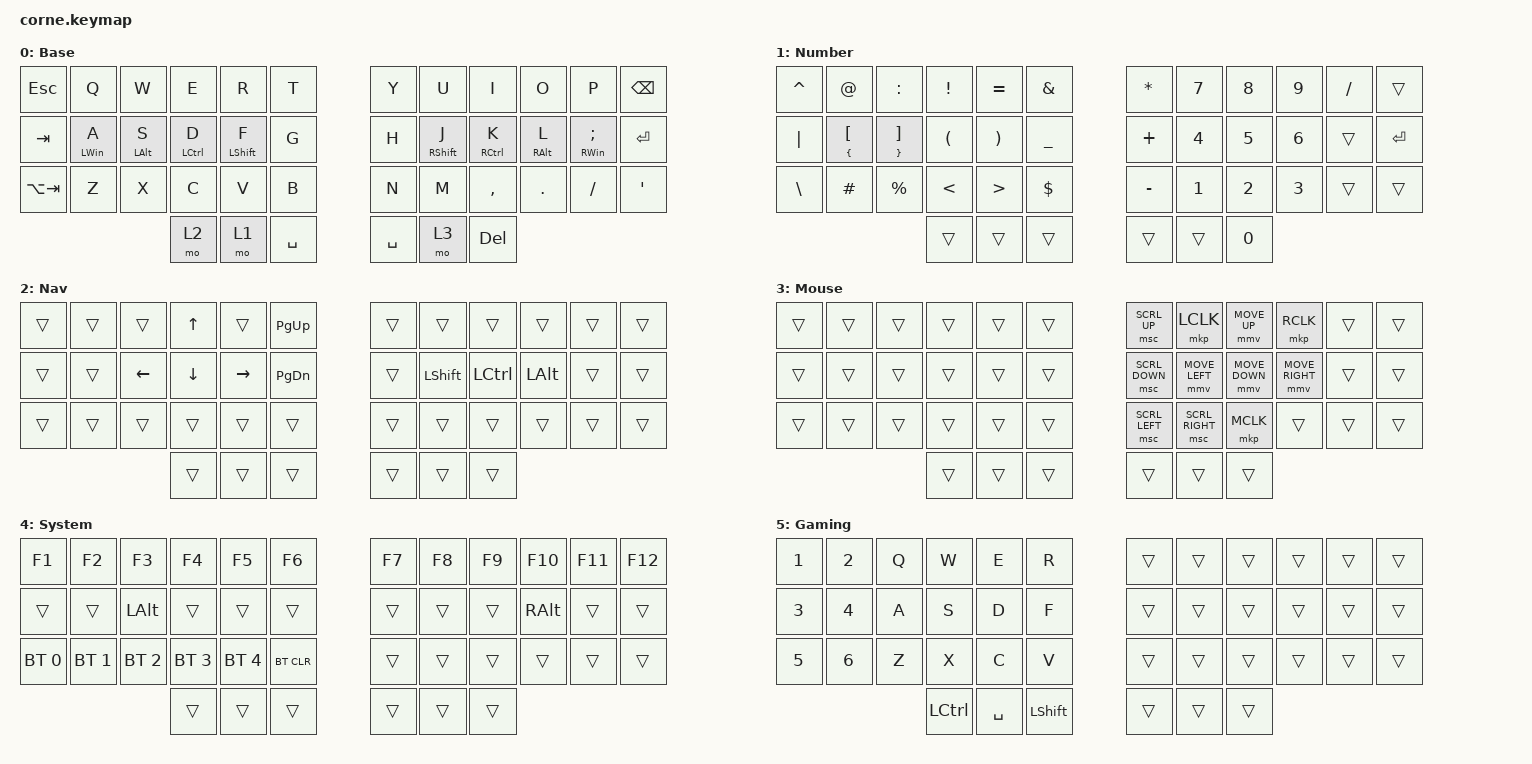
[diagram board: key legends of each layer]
/*
 * Copyright (c) 2020 The ZMK Contributors
 *
 * SPDX-License-Identifier: MIT
 */

#include <behaviors.dtsi>
#include <dt-bindings/zmk/bt.h>
#include <dt-bindings/zmk/keys.h>
#include <dt-bindings/zmk/pointing.h>

/ {
    combos {
        compatible = "zmk,combos";

        toggle_gaming {
            bindings = <&tog 5>;
            key-positions = <36 37 40 41>;
        };
    };

    behaviors {
        HMR: HMR {
            compatible = "zmk,behavior-hold-tap";
            label = "HMR";
            bindings = <&kp>, <&kp>;

            #binding-cells = <2>;
            tapping-term-ms = <280>;
            quick-tap-ms = <175>;
            flavor = "tap-preferred";
            hold-trigger-key-positions = <0 1 2 3 4 5 12 13 14 15 16 17 24 25 26 27 28 29 36 37 38 39 40 41>;
            hold-trigger-on-release;
        };

        HML: HML {
            compatible = "zmk,behavior-hold-tap";
            label = "HML";
            bindings = <&kp>, <&kp>;

            #binding-cells = <2>;
            tapping-term-ms = <280>;
            quick-tap-ms = <175>;
            flavor = "tap-preferred";
            hold-trigger-key-positions = <6 7 8 9 10 11 18 19 20 21 22 23 30 31 32 33 34 35 39 40 41 36 37 38>;
            hold-trigger-on-release;
        };
    };

    keymap {
        compatible = "zmk,keymap";

        default_layer {
            // -----------------------------------------------------------------------------------------
            // |  TAB |  Q  |  W  |  E  |  R  |  T  |   |  Y  |  U   |  I  |  O  |  P  | BKSP |
            // | CTRL |  A  |  S  |  D  |  F  |  G  |   |  H  |  J   |  K  |  L  |  ;  |  '   |
            // | SHFT |  Z  |  X  |  C  |  V  |  B  |   |  N  |  M   |  ,  |  .  |  /  | ESC  |
            //                    | GUI | LWR | SPC |   | ENT | RSE  | ALT |

            display-name = "Base";
            bindings = <
&kp ESC      &kp Q            &kp W            &kp E                &kp R              &kp T        &kp Y      &kp U               &kp I                 &kp O             &kp P                &kp BSPC
&kp TAB      &HML LEFT_WIN A  &HML LEFT_ALT S  &HML LEFT_CONTROL D  &HML LEFT_SHIFT F  &kp G        &kp H      &HMR RIGHT_SHIFT J  &HMR RIGHT_CONTROL K  &HMR RIGHT_ALT L  &HMR RIGHT_WIN SEMI  &kp ENTER
&kp LA(TAB)  &kp Z            &kp X            &kp C                &kp V              &kp B        &kp N      &kp M               &kp COMMA             &kp DOT           &kp FSLH             &kp SINGLE_QUOTE
                                               &mo 2                &mo 1              &kp SPACE    &kp SPACE  &mo 3               &kp DELETE
            >;
        };

        number_layer {
            bindings = <
&kp CARET      &kp AT_SIGN                  &kp COLON                      &kp EXCLAMATION       &kp EQUAL              &kp AMPERSAND     &kp ASTERISK  &kp N7  &kp N8  &kp N9  &kp SLASH  &trans
&kp PIPE       &mt LEFT_BRACE LEFT_BRACKET  &mt RIGHT_BRACE RIGHT_BRACKET  &kp LEFT_PARENTHESIS  &kp RIGHT_PARENTHESIS  &kp UNDERSCORE    &kp PLUS      &kp N4  &kp N5  &kp N6  &trans     &kp ENTER
&kp BACKSLASH  &kp POUND                    &kp PERCENT                    &kp LESS_THAN         &kp GREATER_THAN       &kp DOLLAR        &kp MINUS     &kp N1  &kp N2  &kp N3  &trans     &trans
                                                                           &trans                &trans                 &trans            &trans        &trans  &kp N0
            >;

            label = "Number";
        };

        navegation_layer {
            bindings = <
&trans  &trans  &trans    &kp UP_ARROW  &trans     &kp PAGE_UP      &trans  &trans      &trans            &trans        &trans  &trans
&trans  &trans  &kp LEFT  &kp DOWN      &kp RIGHT  &kp PAGE_DOWN    &trans  &kp LSHIFT  &kp LEFT_CONTROL  &kp LEFT_ALT  &trans  &trans
&trans  &trans  &trans    &trans        &trans     &trans           &trans  &trans      &trans            &trans        &trans  &trans
                          &trans        &trans     &trans           &trans  &trans      &trans
            >;

            label = "Nav";
        };

        mouse_layer {
            bindings = <
&trans  &trans  &trans  &trans  &trans  &trans    &msc SCRL_UP    &mkp LCLK        &mmv MOVE_UP    &mkp RCLK        &trans  &trans
&trans  &trans  &trans  &trans  &trans  &trans    &msc SCRL_DOWN  &mmv MOVE_LEFT   &mmv MOVE_DOWN  &mmv MOVE_RIGHT  &trans  &trans
&trans  &trans  &trans  &trans  &trans  &trans    &msc SCRL_LEFT  &msc SCRL_RIGHT  &mkp MCLK       &trans           &trans  &trans
                        &trans  &trans  &trans    &trans          &trans           &trans
            >;

            label = "Mouse";
        };

        system_layer {
            bindings = <
&kp F1        &kp F2        &kp F3        &kp F4        &kp F5        &kp F6        &kp F7  &kp F8  &kp F9  &kp F10   &kp F11  &kp F12
&trans        &trans        &kp LALT      &trans        &trans        &trans        &trans  &trans  &trans  &kp RALT  &trans   &trans
&bt BT_SEL 0  &bt BT_SEL 1  &bt BT_SEL 2  &bt BT_SEL 3  &bt BT_SEL 4  &bt BT_CLR    &trans  &trans  &trans  &trans    &trans   &trans
                                          &trans        &trans        &trans        &trans  &trans  &trans
            >;

            label = "System";
        };

        gaming_layer {
            bindings = <
&kp N1  &kp N2  &kp Q  &kp W      &kp E      &kp R        &trans  &trans  &trans  &trans  &trans  &trans
&kp N3  &kp N4  &kp A  &kp S      &kp D      &kp F        &trans  &trans  &trans  &trans  &trans  &trans
&kp N5  &kp N6  &kp Z  &kp X      &kp C      &kp V        &trans  &trans  &trans  &trans  &trans  &trans
                       &kp LCTRL  &kp SPACE  &kp LSHFT    &trans  &trans  &trans
            >;

            label = "Gaming";
        };
    };

    conditional_layers {
        compatible = "zmk,conditional-layers";

        system_layer_condition {
            if-layers = <1 2>;
            then-layer = <4>;
        };
    };
};
